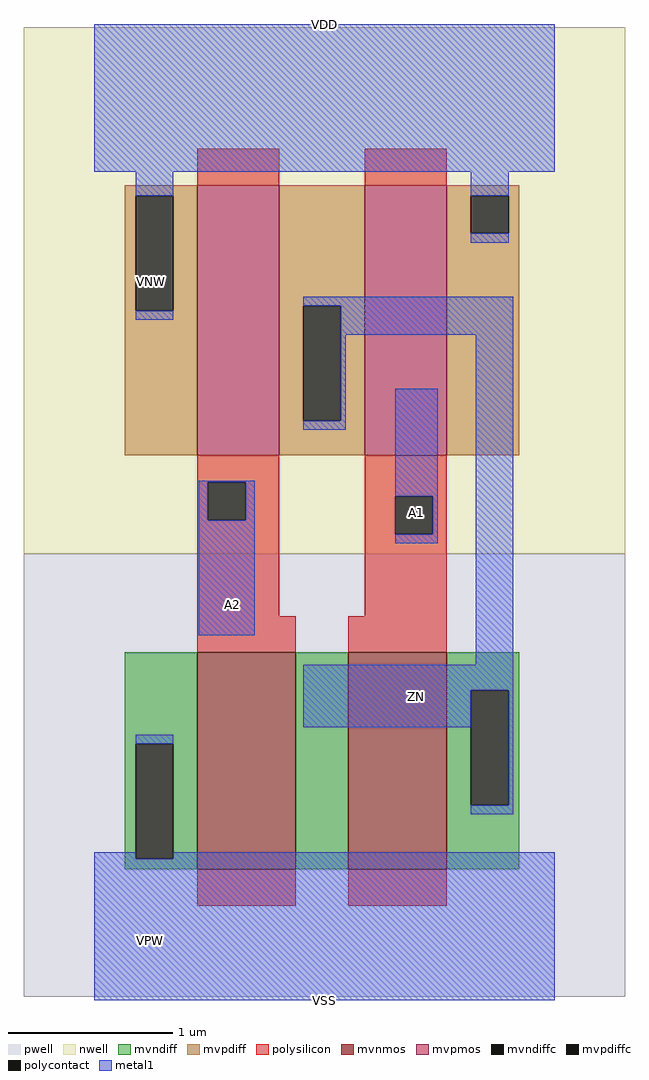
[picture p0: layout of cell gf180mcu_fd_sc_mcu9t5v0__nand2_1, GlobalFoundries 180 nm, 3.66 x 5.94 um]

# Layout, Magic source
magic
tech gf180mcuD
magscale 1 10
<< nwell >>
rect -86 453 646 1094
<< pwell >>
rect -86 -86 646 453
<< mvnmos >>
rect 125 69 245 333
rect 309 69 429 333
<< mvpmos >>
rect 125 573 225 902
rect 329 573 429 902
<< mvndiff >>
rect 37 222 125 333
rect 37 82 50 222
rect 96 82 125 222
rect 37 69 125 82
rect 245 69 309 333
rect 429 287 517 333
rect 429 147 458 287
rect 504 147 517 287
rect 429 69 517 147
<< mvpdiff >>
rect 37 889 125 902
rect 37 749 50 889
rect 96 749 125 889
rect 37 573 125 749
rect 225 755 329 902
rect 225 615 254 755
rect 300 615 329 755
rect 225 573 329 615
rect 429 889 517 902
rect 429 843 458 889
rect 504 843 517 889
rect 429 573 517 843
<< mvndiffc >>
rect 50 82 96 222
rect 458 147 504 287
<< mvpdiffc >>
rect 50 749 96 889
rect 254 615 300 755
rect 458 843 504 889
<< polysilicon >>
rect 125 902 225 946
rect 329 902 429 946
rect 125 540 225 573
rect 125 494 138 540
rect 184 494 225 540
rect 125 377 225 494
rect 329 523 429 573
rect 329 477 366 523
rect 412 477 429 523
rect 329 377 429 477
rect 125 333 245 377
rect 309 333 429 377
rect 125 25 245 69
rect 309 25 429 69
<< polycontact >>
rect 138 494 184 540
rect 366 477 412 523
<< metal1 >>
rect 0 918 560 1098
rect 50 889 96 918
rect 458 889 504 918
rect 458 832 504 843
rect 50 738 96 749
rect 254 755 510 766
rect 300 720 510 755
rect 300 615 306 720
rect 254 604 306 615
rect 127 540 195 542
rect 127 494 138 540
rect 184 494 195 540
rect 127 354 195 494
rect 366 523 418 654
rect 412 477 418 523
rect 366 466 418 477
rect 464 318 510 720
rect 254 287 510 318
rect 254 242 458 287
rect 50 222 96 233
rect 0 82 50 90
rect 504 147 510 287
rect 458 136 510 147
rect 96 82 560 90
rect 0 -90 560 82
<< labels >>
flabel metal1 s 392 504 392 504 0 FreeSans 200 0 0 0 A1
port 1 nsew
flabel metal1 s 168 392 168 392 0 FreeSans 200 0 0 0 A2
port 2 nsew
flabel metal1 s 280 1098 280 1098 0 FreeSans 200 0 0 0 VDD
port 3 nsew
flabel metal1 s 280 -90 280 -90 0 FreeSans 200 0 0 0 VSS
port 4 nsew
flabel metal1 s 392 280 392 280 0 FreeSans 200 0 0 0 ZN
port 5 nsew
flabel nwell s 69 784 69 784 0 FreeSans 400 0 0 0 VNW
port 6 nsew
flabel pwell s 68 -17 68 -17 0 FreeSans 400 0 0 0 VPW
port 7 nsew
<< properties >>
string FIXED_BBOX 0 0 560 1008
<< end >>
